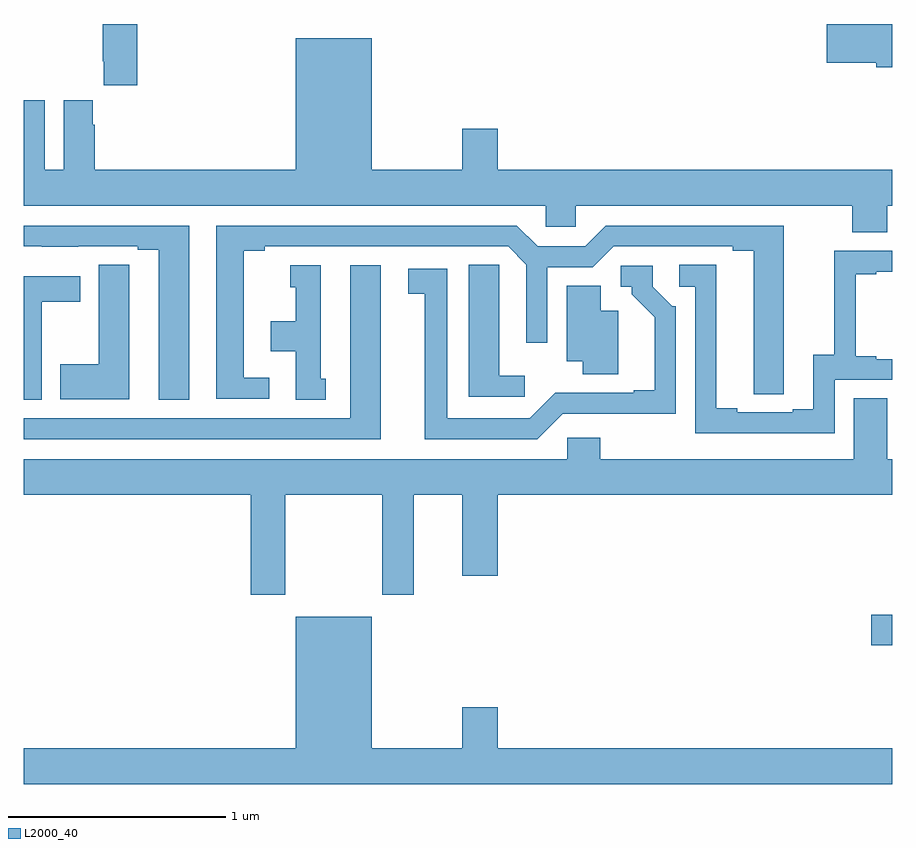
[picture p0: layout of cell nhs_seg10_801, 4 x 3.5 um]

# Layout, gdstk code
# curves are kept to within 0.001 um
import gdstk
lib = gdstk.Library(unit=1e-6, precision=1e-09)
def R(c, l, rs):  # rectangles x0, y0, x1, y1
    for r in rs: c.add(gdstk.rectangle(r[:2], r[2:], *l))
def P(c, l, *ps):  # polygons
    for p in ps: c.add(gdstk.Polygon(p, *l))
L2000_40 = (2000, 40)

nhs_seg10_801 = lib.new_cell('nhs_seg10_801')
R(nhs_seg10_801, L2000_40, [(154.902,1283.638,155,1283.78)])
P(nhs_seg10_801, L2000_40, [(155,1286.5),(154.698,1286.5),(154.698,1286.321),(154.925,1286.321),(154.925,1286.3),(155,1286.3)],
  [(151.523,1286.5),(151.363,1286.5),(151.363,1286.329),(151.369,1286.329),(151.369,1286.217),(151.523,1286.217)],
  [(154.976,1285.664),(155,1285.664),(155,1285.828),(153.184,1285.828),(153.184,1286.017),(153.02,1286.017),(153.02,1285.828),(152.602,1285.828),(152.602,1286.434),(152.252,1286.434),(152.252,1285.828),(151.328,1285.828),(151.328,1286.036),(151.318,1286.036),(151.318,1286.149),(151.184,1286.149),(151.184,1285.828),(151.096,1285.828),(151.096,1286.149),(151,1286.149),(151,1285.664),(153.405,1285.664),(153.405,1285.566),(153.543,1285.566),(153.543,1285.664),(154.816,1285.664),(154.816,1285.54),(154.976,1285.54)],
  [(151.762,1285.572),(151,1285.572),(151,1285.476),(151.084,1285.476),(151.084,1285.475),(151.25,1285.475),(151.25,1285.476),(151.526,1285.476),(151.526,1285.461),(151.622,1285.461),(151.622,1284.769),(151.762,1284.769)],
  [(152.131,1284.87),(152.014,1284.87),(152.014,1285.456),(152.11,1285.456),(152.11,1285.476),(153.231,1285.476),(153.315,1285.392),(153.315,1285.032),(153.411,1285.032),(153.411,1285.38),(153.621,1285.38),(153.717,1285.476),(154.265,1285.476),(154.265,1285.456),(154.361,1285.456),(154.361,1284.796),(154.5,1284.796),(154.501,1285.572),(153.681,1285.572),(153.585,1285.476),(153.367,1285.476),(153.271,1285.572),(151.886,1285.572),(151.886,1284.774),(152.131,1284.774)],
  [(154.734,1284.861),(155,1284.861),(155,1284.957),(154.927,1284.957),(154.927,1284.97),(154.832,1284.97),(154.832,1285.347),(154.927,1285.347),(154.927,1285.359),(155,1285.359),(155,1285.455),(154.732,1285.455),(154.732,1284.977),(154.637,1284.977),(154.637,1284.726),(154.541,1284.726),(154.541,1284.711),(154.285,1284.711),(154.285,1284.731),(154.189,1284.731),(154.189,1285.391),(154.02,1285.391),(154.02,1285.29),(154.092,1285.29),(154.092,1284.615),(154.734,1284.615)],
  [(151.486,1285.283),(151.485,1285.283),(151.485,1285.391),(151.346,1285.391),(151.346,1284.933),(151.169,1284.933),(151.169,1284.773),(151.486,1284.773)],
  [(153.307,1284.88),(153.19,1284.88),(153.19,1285.283),(153.189,1285.283),(153.189,1285.391),(153.05,1285.391),(153.05,1284.783),(153.307,1284.783)],
  [(152.644,1285.39),(152.504,1285.39),(152.504,1284.684),(151,1284.684),(151,1284.588),(152.644,1284.588)],
  [(152.392,1284.867),(152.368,1284.867),(152.368,1285.39),(152.228,1285.39),(152.228,1285.287),(152.252,1285.287),(152.252,1285.132),(152.138,1285.132),(152.138,1284.992),(152.252,1284.992),(152.252,1284.769),(152.392,1284.769)],
  [(153.483,1284.705),(154.002,1284.704),(154.002,1285.2),(153.987,1285.2),(153.897,1285.29),(153.897,1285.386),(153.75,1285.386),(153.75,1285.29),(153.8,1285.29),(153.8,1285.255),(153.905,1285.15),(153.905,1284.814),(153.809,1284.814),(153.809,1284.801),(153.448,1284.802),(153.33,1284.684),(152.95,1284.684),(152.95,1285.374),(152.772,1285.374),(152.772,1285.258),(152.846,1285.258),(152.846,1284.588),(153.366,1284.588)],
  [(151.084,1285.222),(151.261,1285.222),(151.261,1285.338),(151,1285.338),(151,1284.769),(151.084,1284.769)],
  [(153.739,1285.18),(153.658,1285.18),(153.658,1285.295),(153.5,1285.295),(153.5,1284.947),(153.575,1284.947),(153.575,1284.886),(153.739,1284.886)],
  [(152.205,1284.332),(152.65,1284.332),(152.65,1283.871),(152.797,1283.871),(152.797,1284.332),(153.02,1284.332),(153.02,1283.958),(153.184,1283.958),(153.184,1284.332),(155,1284.332),(155,1284.496),(154.976,1284.496),(154.976,1284.776),(154.823,1284.776),(154.823,1284.496),(153.656,1284.496),(153.656,1284.594),(153.504,1284.594),(153.504,1284.496),(151,1284.496),(151,1284.332),(152.045,1284.332),(152.045,1283.871),(152.205,1283.871)],
  [(155,1283.164),(153.184,1283.164),(153.184,1283.353),(153.02,1283.353),(153.02,1283.164),(152.602,1283.164),(152.602,1283.77),(152.252,1283.77),(152.252,1283.164),(151,1283.164),(151,1283),(155,1283)])

lib.write_gds('nhs_seg10_801.gds')
